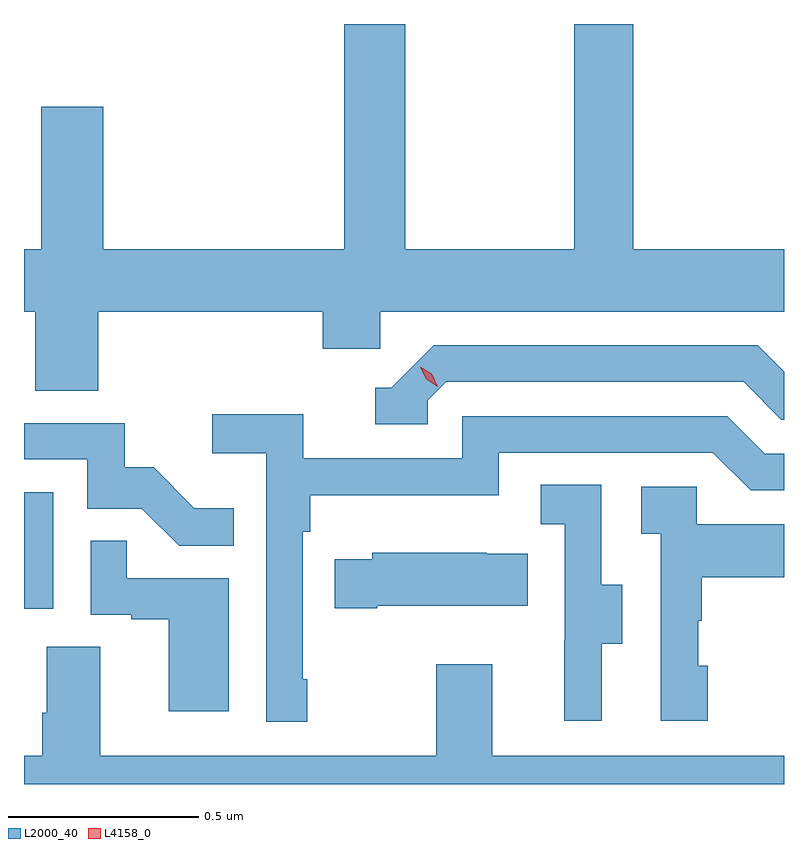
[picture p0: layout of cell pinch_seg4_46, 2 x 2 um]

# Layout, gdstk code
import gdstk
lib = gdstk.Library(unit=1e-6, precision=1e-09)
def R(c, l, rs):  # rectangles x0, y0, x1, y1
    for r in rs: c.add(gdstk.rectangle(r[:2], r[2:], *l))
def P(c, l, *ps):  # polygons
    for p in ps: c.add(gdstk.Polygon(p, *l))
L2000_40 = (2000, 40)
L4158_0 = (4158, 0)

pinch_seg4_46 = lib.new_cell('pinch_seg4_46')
R(pinch_seg4_46, L2000_40, [(1141.985,820.014,1142.062,820.321)])
P(pinch_seg4_46, L2000_40, [(1142.18,820.796),(1142.771,820.796),(1142.771,820.698),(1142.922,820.698),(1142.922,820.796),(1143.985,820.796),(1143.985,820.96),(1143.588,820.96),(1143.588,821.553),(1143.433,821.553),(1143.433,820.96),(1142.988,820.96),(1142.988,821.553),(1142.828,821.553),(1142.828,820.96),(1142.194,820.96),(1142.194,821.335),(1142.03,821.335),(1142.03,820.96),(1141.985,820.96),(1141.985,820.796),(1142.015,820.796),(1142.015,820.588),(1142.18,820.588)],
  [(1143.048,820.563),(1143.096,820.611),(1143.879,820.611),(1143.978,820.512),(1143.985,820.512),(1143.985,820.638),(1143.916,820.707),(1143.063,820.707),(1142.952,820.596),(1142.909,820.596),(1142.909,820.5),(1143.048,820.5)],
  [(1142.731,819.829),(1142.718,819.829),(1142.718,820.217),(1142.738,820.217),(1142.738,820.313),(1143.234,820.313),(1143.234,820.425),(1143.798,820.425),(1143.897,820.326),(1143.985,820.326),(1143.985,820.422),(1143.934,820.422),(1143.835,820.521),(1143.138,820.521),(1143.138,820.41),(1142.72,820.41),(1142.72,820.526),(1142.481,820.526),(1142.481,820.424),(1142.622,820.424),(1142.622,819.717),(1142.731,819.717)],
  [(1142.537,820.279),(1142.433,820.279),(1142.326,820.386),(1142.25,820.386),(1142.25,820.503),(1141.985,820.503),(1141.985,820.407),(1142.151,820.407),(1142.151,820.278),(1142.295,820.278),(1142.393,820.18),(1142.537,820.18)],
  [(1143.505,819.922),(1143.559,819.922),(1143.559,820.077),(1143.504,820.077),(1143.504,820.34),(1143.345,820.34),(1143.345,820.237),(1143.408,820.237),(1143.408,819.933),(1143.407,819.933),(1143.407,819.72),(1143.505,819.72)],
  [(1143.784,819.864),(1143.759,819.864),(1143.759,819.983),(1143.769,819.983),(1143.769,820.097),(1143.985,820.097),(1143.985,820.237),(1143.756,820.237),(1143.756,820.335),(1143.609,820.335),(1143.609,820.211),(1143.66,820.211),(1143.66,819.72),(1143.784,819.72)],
  [(1142.524,820.095),(1142.255,820.095),(1142.255,820.193),(1142.16,820.193),(1142.16,819.999),(1142.267,819.999),(1142.267,819.987),(1142.366,819.987),(1142.366,819.744),(1142.524,819.744)],
  [(1142.914,820.022),(1143.311,820.022),(1143.311,820.159),(1143.203,820.159),(1143.203,820.162),(1142.901,820.162),(1142.901,820.144),(1142.803,820.144),(1142.803,820.015),(1142.914,820.015)],
  [(1143.985,819.628),(1143.217,819.628),(1143.217,819.868),(1143.07,819.868),(1143.07,819.628),(1142.185,819.628),(1142.185,819.914),(1142.045,819.914),(1142.045,819.74),(1142.033,819.74),(1142.033,819.628),(1141.985,819.628),(1141.985,819.553),(1143.985,819.553)])
P(pinch_seg4_46, L4158_0, [(1143.074,820.599),(1143.043,820.618),(1143.028,820.651),(1143.028,820.651),(1143.028,820.651),(1143.058,820.632),(1143.074,820.599),(1143.074,820.599)])

lib.write_gds('pinch_seg4_46.gds')
